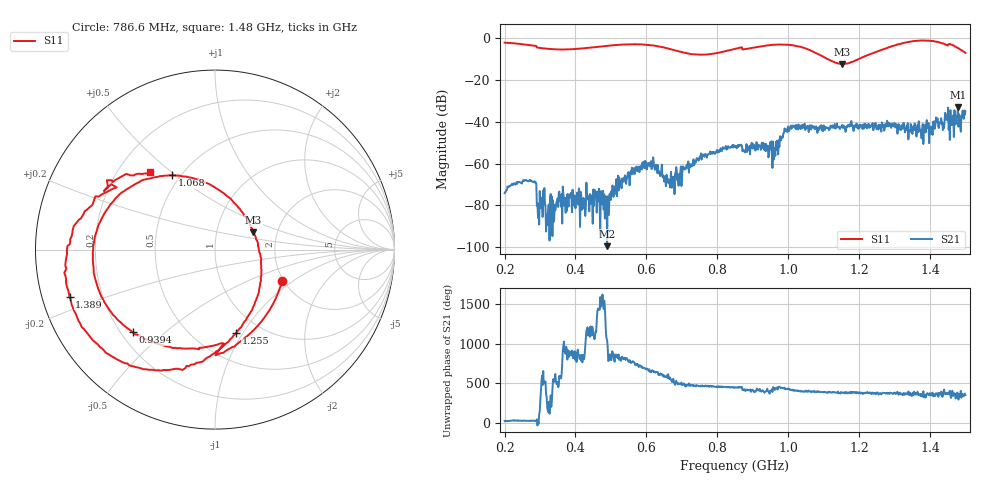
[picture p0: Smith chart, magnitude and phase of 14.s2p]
! NanoVNA-App
! Date: 2024-06-25 16:53:16
! Start: 200MHz Stop: 1.5GHz Points: 801
! S-Parameter data: F S11 S21 S12 S22
# Hz S RI R 50
!  Frequency  S11_Real  S11_Imag  S21_Real  S21_Imag  S12_Real  S12_Imag  S22_Real  S22_Imag
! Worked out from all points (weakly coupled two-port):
!   801 points, 200 MHz to 1.5 GHz, reference 50 ohm
!   highest |S21| = -33.22 dB at 1.479 GHz (marker M1); lowest = -99.4 dB at 489.2 MHz (marker M2)
!   lowest |S11| = -12.6 dB at 1.152 GHz (marker M3), VSWR 1.61, Z = 75.3 + j15.4 ohm
!   |S11| at or under -10 dB: 1.109 GHz to 1.202 GHz (92.59 MHz wide, 8.01 % of centre)
!   S12 and S22 are empty: the file has one direction only
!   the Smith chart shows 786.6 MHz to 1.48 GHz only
!   S11 on the Smith chart (normalised r, x): 786.6 MHz: 1.97, -0.82; 939.4 MHz: 0.25, -0.39; 1.068 GHz: 0.45, +0.48; 1.255 GHz: 0.77, -0.93; 1.389 GHz: 0.08, -0.16; 1.48 GHz: 0.34, +0.43
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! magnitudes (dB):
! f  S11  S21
! 200 MHz  -2.4  -74.1
! 266.6 MHz  -3.5  -68.5
! 282.9 MHz  -3.8  -68.5
! 297.5 MHz  -4.8  -89.1
! 417.8 MHz  -5.1  -82.1
! 489.2 MHz  -3.9  -99.4
! 590 MHz  -3.3  -60.5
! 633.9 MHz  -4.1  -64.7
! 672.9 MHz  -5.7  -66.4
! 786.6 MHz  -7.7  -55.3
! 850 MHz  -5.4  -51.6
! 939.4 MHz  -3.8  -53.7
! 960.5 MHz  -3.4  -52.6
! 1.006 GHz  -3.5  -42.8
! 1.068 GHz  -6.4  -42.4
! 1.152 GHz  -12.6  -41.6
! 1.255 GHz  -6.4  -43.8
! 1.284 GHz  -4.6  -40.5
! 1.389 GHz  -1.4  -41.0
! 1.479 GHz  -5.0  -33.2
! 1.48 GHz  -5.0  -42.4
! 1.5 GHz  -7.2  -35.2
